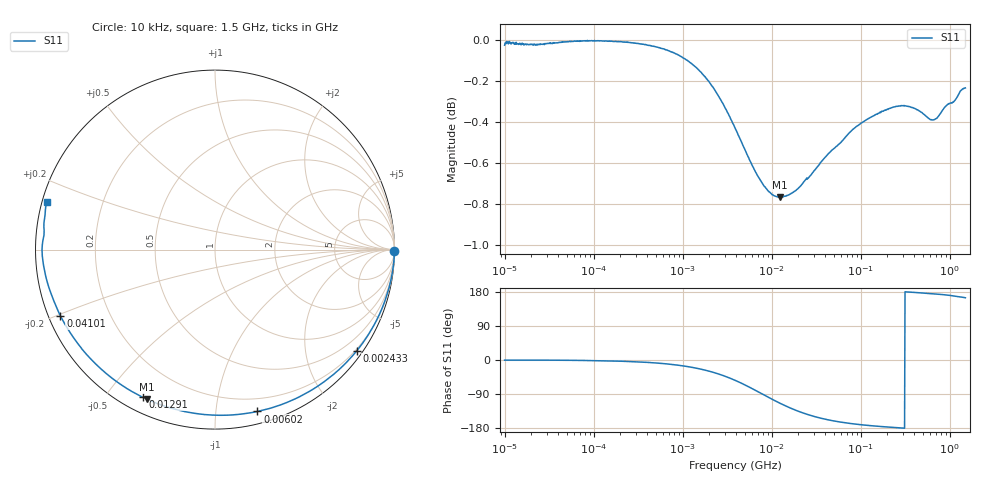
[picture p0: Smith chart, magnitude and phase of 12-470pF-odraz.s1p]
#  HZ  S  DB  R  50.00
! Rohde & Schwarz Vector Network Analyzer
! Rohde-Schwarz,ZNB8-4Port,1334333044101560,3.32
! Created: UTC 3/21/2023, 5:10:05 PM
! freq[Hz]  db:S11  ang:S11
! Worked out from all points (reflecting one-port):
!   1001 points, 10 kHz to 1.5 GHz, reference 50 ohm
!   lowest |S11| = -0.8 dB at 12.45 MHz (marker M1), VSWR 22.67, Z = 3.12 - j32.2 ohm
!   phase of S11 starts at -0 deg and turns -195 deg over the sweep
!   S11 on the Smith chart (normalised r, x): 10 kHz: open; 2.433 MHz: 0.16, -3.11; 6.02 MHz: 0.09, -1.29; 12.91 MHz: 0.06, -0.62; 41.01 MHz: 0.03, -0.20; 1.5 GHz: 0.01, +0.14
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10000  -0.03 -0.5
44362.03  -0.01 -0.7
196799  -0.01 -3.1
447891.8  -0.03 -7.0
873040.2  -0.07 -13.5
1546987  -0.15 -23.3
1963398  -0.20 -29.2
2433201  -0.26 -35.6
3088161  -0.34 -44.1
3872983  -0.43 -53.5
4799713  -0.52 -63.6
6019508  -0.61 -75.3
7197843  -0.67 -85.0
8504869  -0.72 -94.2
1.016972e7  -0.75 -103.8
1.245382e7  -0.77 -114.3
1.290716e7  -0.76 -116.1
1.718134e7  -0.74 -129.3
2.079096e7  -0.71 -136.9
2.546057e7  -0.67 -144.0
3.193109e7  -0.62 -150.7
4.101207e7  -0.57 -156.8
5.524767e7  -0.51 -162.6
7.621991e7  -0.45 -167.4
1.383162e8  -0.37 -173.9
3.38127e8  -0.32 179.5
8.364939e8  -0.34 172.6
1.5e9  -0.23 164.2
